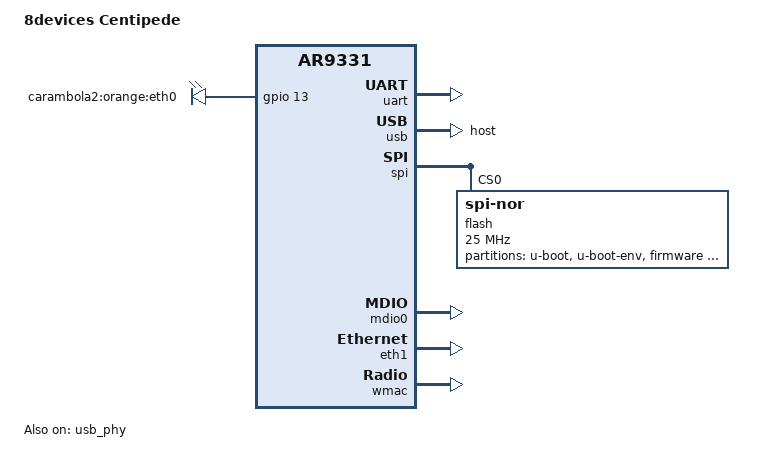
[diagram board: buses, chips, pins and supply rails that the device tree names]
// SPDX-License-Identifier: GPL-2.0-or-later OR MIT
/dts-v1/;

#include <dt-bindings/gpio/gpio.h>
#include <dt-bindings/input/input.h>

#include "ar9331.dtsi"

/ {
	model = "8devices Centipede";
	compatible = "8dev,centipede", "qca,ar9331";

	aliases {
		serial0 = &uart;
		label-mac-device = &wmac;
	};

	leds {
		compatible = "gpio-leds";

		eth0 {
			label = "carambola2:orange:eth0";
			gpios = <&gpio 13 GPIO_ACTIVE_HIGH>;
		};
	};
};

&ref {
	clock-frequency = <25000000>;
};

&uart {
	status = "okay";
};

&usb {
	dr_mode = "host";
	status = "okay";
};

&usb_phy {
	status = "okay";
};

&spi {
	num-chipselects = <0>;
	status = "okay";

	flash@0 {
		compatible = "jedec,spi-nor";
		spi-max-frequency = <25000000>;
		reg = <0>;

		partitions {
			compatible = "fixed-partitions";
			#address-cells = <1>;
			#size-cells = <1>;

			uboot: partition@0 {
				label = "u-boot";
				reg = <0x000000 0x040000>;
				read-only;
			};

			partition@40000 {
				label = "u-boot-env";
				reg = <0x040000 0x010000>;
				read-only;
			};

			partition@50000 {
				compatible = "denx,uimage";
				label = "firmware";
				reg = <0x50000 0xfa0000>;
			};

			art: partition@ff0000 {
				label = "art";
				reg = <0xff0000 0x010000>;
				read-only;
			};
		};
	};
};

&mdio0 {
	status = "okay";
};

&eth1 {
	status = "okay";
	mtd-mac-address = <&art 0x0>;

	gmac-config {
		device = <&gmac>;

		switch-phy-addr-swap = <1>;
		switch-phy-swap = <1>;
	};
};

&wmac {
	status = "okay";
	mtd-cal-data = <&art 0x1000>;
};
